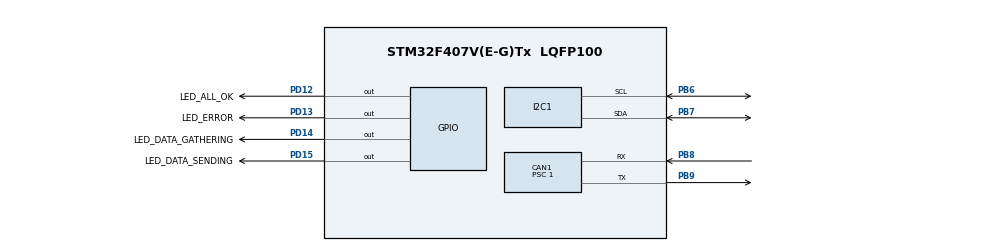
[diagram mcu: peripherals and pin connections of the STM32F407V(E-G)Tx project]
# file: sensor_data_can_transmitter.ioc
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CAN1.BS1=CAN_BS1_2TQ
CAN1.CalculateBaudRate=500000
CAN1.CalculateTimeBit=2000
CAN1.CalculateTimeQuantum=500.0
CAN1.Prescaler=1
Mcu.Family=STM32F4
Mcu.Name=STM32F407V(E-G)Tx
Mcu.Package=LQFP100
NVIC.PriorityGroup=NVIC_PRIORITYGROUP_0
PB6.Mode=I2C
PB6.Signal=I2C1_SCL
PB7.Mode=I2C
PB7.Signal=I2C1_SDA
PB8.Mode=CAN_Activate
PB8.Signal=CAN1_RX
PB9.Mode=CAN_Activate
PB9.Signal=CAN1_TX
PD12.GPIO_Label=LED_ALL_OK
PD12.Signal=GPIO_Output
PD13.GPIO_Label=LED_ERROR
PD13.Signal=GPIO_Output
PD14.GPIO_Label=LED_DATA_GATHERING
PD14.Signal=GPIO_Output
PD15.GPIO_Label=LED_DATA_SENDING
PD15.Signal=GPIO_Output
PH0-OSC_IN.Mode=HSE-External-Oscillator
PH0-OSC_IN.Signal=RCC_OSC_IN
PH1-OSC_OUT.Mode=HSE-External-Oscillator
PH1-OSC_OUT.Signal=RCC_OSC_OUT
ProjectManager.HeapSize=0x200
ProjectManager.StackSize=0x400
ProjectManager.TargetToolchain=STM32CubeIDE
RCC.48MHZClocksFreq_Value=7142857.142857143
RCC.AHBFreq_Value=8000000
RCC.APB1CLKDivider=RCC_HCLK_DIV4
RCC.APB1Freq_Value=2000000
RCC.APB1TimFreq_Value=4000000
RCC.APB2CLKDivider=RCC_HCLK_DIV2
RCC.APB2Freq_Value=4000000
RCC.APB2TimFreq_Value=8000000
RCC.CortexFreq_Value=8000000
RCC.HCLKFreq_Value=8000000
RCC.HSE_VALUE=8000000
RCC.HSI_VALUE=16000000
RCC.LSE_VALUE=32768
RCC.PLLM=8
RCC.PLLN=50
RCC.PLLP=RCC_PLLP_DIV4
RCC.PLLQ=7
RCC.PLLSourceVirtual=RCC_PLLSOURCE_HSE
RCC.SYSCLKFreq_VALUE=8000000
RCC.SYSCLKSource=RCC_SYSCLKSOURCE_HSE
RCC.VCOOutputFreq_Value=50000000
board=STM32F407G-DISC1

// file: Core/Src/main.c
/* USER CODE BEGIN Header */
/**
 ******************************************************************************
 * @file           : main.c
 * @brief          : Main program body
 ******************************************************************************
 * @attention
 *
 * Copyright (c) 2025 STMicroelectronics.
 * All rights reserved.
 *
 * This software is licensed under terms that can be found in the LICENSE file
 * in the root directory of this software component.
 * If no LICENSE file comes with this software, it is provided AS-IS.
 *
 ******************************************************************************
 */
/* USER CODE END Header */
#include "main.h"

/* USER CODE BEGIN Includes */
#include "mpu6050.h"
/* USER CODE END Includes */

CAN_HandleTypeDef hcan1;

I2C_HandleTypeDef hi2c1;

/* USER CODE BEGIN PV */
CAN_TxHeaderTypeDef TxHeader;
uint8_t TxData[8];
uint32_t TxMailbox;

MPU6050_Accel_Data_t raw_accel_data;
MPU6050_Accel_Data_t calibrated_accel_data;

const MPU6050_Accel_Data_t accel_offset = { .x = MPU6050_ACCEL_CALIBRATION_X,
		.y = MPU6050_ACCEL_CALIBRATION_Y, .z = MPU6050_ACCEL_CALIBRATION_Z };

/* USER CODE END PV */

void SystemClock_Config(void);
static void MX_GPIO_Init(void);
static void MX_CAN1_Init(void);
static void MX_I2C1_Init(void);

int main(void) {

	/* MCU Configuration--------------------------------------------------------*/

	/* Reset of all peripherals, Initializes the Flash interface and the Systick. */
	HAL_Init();

	/* Configure the system clock */
	SystemClock_Config();

	/* Initialize all configured peripherals */
	MX_GPIO_Init();
	MX_CAN1_Init();
	MX_I2C1_Init();
	/* USER CODE BEGIN 2 */

	MPU6050_Status_t mpu_status = MPU6050_Init(&hi2c1, MPU6050_I2C_ADDR);
	if (mpu_status != MPU6050_OK) {
		Error_Handler();
	} else {
		MPU6050_Configure_Low_Pass_Filter(&hi2c1, MPU6050_DLPF_44Hz);
	}

	TxHeader.StdId = 0x123;
	TxHeader.ExtId = 0;
	TxHeader.IDE = CAN_ID_STD;
	TxHeader.RTR = CAN_RTR_DATA;
	TxHeader.DLC = 6; // X, Y, Z (int16_t = 2 byte)
	TxHeader.TransmitGlobalTime = DISABLE;

	if (HAL_CAN_Start(&hcan1) != HAL_OK) {
		Error_Handler();
	}

	/* USER CODE END 2 */

	/* Infinite loop */
	/* USER CODE BEGIN WHILE */
	while (1) {
		mpu_status = MPU6050_Read_Accelerometer_Data(&hi2c1, MPU6050_I2C_ADDR,
				&raw_accel_data);

		if (mpu_status == MPU6050_OK) {
			calibrated_accel_data = MPU6050_Accelerometer_Calibration(
					&accel_offset, &raw_accel_data);

			TxData[0] = (uint8_t) (calibrated_accel_data.x & 0xFF); // X Low Byte
			TxData[1] = (uint8_t) ((calibrated_accel_data.x >> 8) & 0xFF); // X High Byte
			TxData[2] = (uint8_t) (calibrated_accel_data.y & 0xFF); // Y Low Byte
			TxData[3] = (uint8_t) ((calibrated_accel_data.y >> 8) & 0xFF); // Y High Byte
			TxData[4] = (uint8_t) (calibrated_accel_data.z & 0xFF); // Z Low Byte
			TxData[5] = (uint8_t) ((calibrated_accel_data.z >> 8) & 0xFF); // Z High Byte

			if (HAL_CAN_GetTxMailboxesFreeLevel(&hcan1) > 0) {
				if (HAL_CAN_AddTxMessage(&hcan1, &TxHeader, TxData, &TxMailbox)
						!= HAL_OK) {
				}
			} else {
				printf("Mailbox is full\n");
			}
		} else {
			printf("MPU6050 Read Error!\n");

		}

		HAL_Delay(100);
	}
	/* USER CODE END WHILE */

}
}

void SystemClock_Config(void) {
RCC_OscInitTypeDef RCC_OscInitStruct = { 0 };
RCC_ClkInitTypeDef RCC_ClkInitStruct = { 0 };

/** Configure the main internal regulator output voltage
 */
__HAL_RCC_PWR_CLK_ENABLE();
__HAL_PWR_VOLTAGESCALING_CONFIG(PWR_REGULATOR_VOLTAGE_SCALE1);

/** Initializes the RCC Oscillators according to the specified parameters
 * in the RCC_OscInitTypeDef structure.
 */
RCC_OscInitStruct.OscillatorType = RCC_OSCILLATORTYPE_HSE;
RCC_OscInitStruct.HSEState = RCC_HSE_ON;
RCC_OscInitStruct.PLL.PLLState = RCC_PLL_NONE;
if (HAL_RCC_OscConfig(&RCC_OscInitStruct) != HAL_OK) {
	Error_Handler();
}

/** Initializes the CPU, AHB and APB buses clocks
 */
RCC_ClkInitStruct.ClockType = RCC_CLOCKTYPE_HCLK | RCC_CLOCKTYPE_SYSCLK
		| RCC_CLOCKTYPE_PCLK1 | RCC_CLOCKTYPE_PCLK2;
RCC_ClkInitStruct.SYSCLKSource = RCC_SYSCLKSOURCE_HSE;
RCC_ClkInitStruct.AHBCLKDivider = RCC_SYSCLK_DIV1;
RCC_ClkInitStruct.APB1CLKDivider = RCC_HCLK_DIV4;
RCC_ClkInitStruct.APB2CLKDivider = RCC_HCLK_DIV2;

if (HAL_RCC_ClockConfig(&RCC_ClkInitStruct, FLASH_LATENCY_0) != HAL_OK) {
	Error_Handler();
}
}

static void MX_CAN1_Init(void) {

hcan1.Instance = CAN1;
hcan1.Init.Prescaler = 1;
hcan1.Init.Mode = CAN_MODE_NORMAL;
hcan1.Init.SyncJumpWidth = CAN_SJW_1TQ;
hcan1.Init.TimeSeg1 = CAN_BS1_2TQ;
hcan1.Init.TimeSeg2 = CAN_BS2_1TQ;
hcan1.Init.TimeTriggeredMode = DISABLE;
hcan1.Init.AutoBusOff = DISABLE;
hcan1.Init.AutoWakeUp = DISABLE;
hcan1.Init.AutoRetransmission = DISABLE;
hcan1.Init.ReceiveFifoLocked = DISABLE;
hcan1.Init.TransmitFifoPriority = DISABLE;
if (HAL_CAN_Init(&hcan1) != HAL_OK) {
	Error_Handler();
}

}

static void MX_I2C1_Init(void) {

hi2c1.Instance = I2C1;
hi2c1.Init.ClockSpeed = 100000;
hi2c1.Init.DutyCycle = I2C_DUTYCYCLE_2;
hi2c1.Init.OwnAddress1 = 0;
hi2c1.Init.AddressingMode = I2C_ADDRESSINGMODE_7BIT;
hi2c1.Init.DualAddressMode = I2C_DUALADDRESS_DISABLE;
hi2c1.Init.OwnAddress2 = 0;
hi2c1.Init.GeneralCallMode = I2C_GENERALCALL_DISABLE;
hi2c1.Init.NoStretchMode = I2C_NOSTRETCH_DISABLE;
if (HAL_I2C_Init(&hi2c1) != HAL_OK) {
	Error_Handler();
}

}

static void MX_GPIO_Init(void) {
GPIO_InitTypeDef GPIO_InitStruct = { 0 };

/* GPIO Ports Clock Enable */
__HAL_RCC_GPIOH_CLK_ENABLE();
__HAL_RCC_GPIOD_CLK_ENABLE();
__HAL_RCC_GPIOB_CLK_ENABLE();

/*Configure GPIO pin Output Level */
HAL_GPIO_WritePin(GPIOD,
LED_ALL_OK_Pin | LED_ERROR_Pin | LED_DATA_GATHERING_Pin | LED_DATA_SENDING_Pin,
		GPIO_PIN_RESET);

/*Configure GPIO pins : LED_ALL_OK_Pin LED_ERROR_Pin LED_DATA_GATHERING_Pin LED_DATA_SENDING_Pin */
GPIO_InitStruct.Pin = LED_ALL_OK_Pin | LED_ERROR_Pin | LED_DATA_GATHERING_Pin
		| LED_DATA_SENDING_Pin;
GPIO_InitStruct.Mode = GPIO_MODE_OUTPUT_PP;
GPIO_InitStruct.Pull = GPIO_NOPULL;
GPIO_InitStruct.Speed = GPIO_SPEED_FREQ_LOW;
HAL_GPIO_Init(GPIOD, &GPIO_InitStruct);

}

void Error_Handler(void) {
__disable_irq();
while (1) {
}
}
